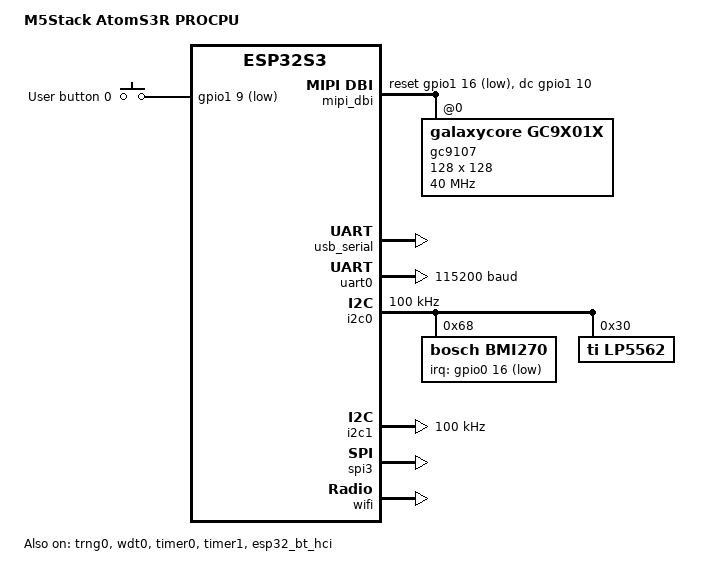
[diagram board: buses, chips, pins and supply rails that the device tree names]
/*
 * Copyright (c) 2024 M5Stack
 *
 * SPDX-License-Identifier: Apache-2.0
 */
/dts-v1/;

#include <espressif/esp32s3/esp32s3_pico_n8r8.dtsi>
#include "m5stack_atoms3r-pinctrl.dtsi"
#include "grove_connectors.dtsi"
#include <zephyr/dt-bindings/input/input-event-codes.h>
#include <zephyr/dt-bindings/display/panel.h>
#include <espressif/partitions_0x0_amp.dtsi>

/ {
	model = "M5Stack AtomS3R PROCPU";
	compatible = "m5stack,atoms3r";

	chosen {
		zephyr,sram = &sram1;
		zephyr,console = &usb_serial;
		zephyr,shell-uart = &usb_serial;
		zephyr,flash = &flash0;
		zephyr,code-partition = &slot0_partition;
		zephyr,display = &gc9107;
		zephyr,bt-hci = &esp32_bt_hci;
	};

	aliases {
		sw0 = &user_button_0;
		watchdog0 = &wdt0;
		accel0 = &bmi270;
		led-controller-0 = &lp5562;
	};

	gpio_keys {
		compatible = "gpio-keys";

		/* Button underneath the LCD display */
		user_button_0: button_0 {
			label = "User button 0";
			gpios = <&gpio1 9 GPIO_ACTIVE_LOW>; /* G41 */
			zephyr,code = <INPUT_KEY_0>;
		};
	};

	mipi_dbi {
		compatible = "zephyr,mipi-dbi-spi";
		spi-dev = <&spi3>;
		dc-gpios = <&gpio1 10 GPIO_ACTIVE_HIGH>;  /* G42 */
		reset-gpios = <&gpio1 16 GPIO_ACTIVE_LOW>; /* G48 */
		write-only;
		#address-cells = <1>;
		#size-cells = <0>;

		gc9107: gc9107@0 {
			compatible = "galaxycore,gc9x01x";
			reg = <0>;
			mipi-max-frequency = <40000000>;
			pixel-format = <PANEL_PIXEL_FORMAT_RGB_565>;
			width = <128>;
			height = <128>;
			display-inversion;
			orientation = "normal";
		};
	};
};

&usb_serial {
	status = "okay";
};

&uart0 {
	status = "okay";
	current-speed = <115200>;
	pinctrl-0 = <&uart0_default>;
	pinctrl-names = "default";
};

&i2c0 {
	status = "okay";
	clock-frequency = <I2C_BITRATE_STANDARD>;
	pinctrl-0 = <&i2c0_default>;
	pinctrl-names = "default";

	bmi270: bmi270@68 {
		compatible = "bosch,bmi270";
		reg = <0x68>;
		status = "okay";
		irq-gpios = <&gpio0 16 GPIO_ACTIVE_LOW>; /* G16 INT1 */
	};

	lp5562: lp5562@30 {
		compatible = "ti,lp5562";
		reg = <0x30>;
		status = "okay";
		white-output-current = <50>; /* 5mA for LCD backlight */
	};
};

&i2c1 {
	status = "okay";
	clock-frequency = <I2C_BITRATE_STANDARD>;
	pinctrl-0 = <&i2c1_default>;
	pinctrl-names = "default";
};

&trng0 {
	status = "okay";
};

&spi3 {
	#address-cells = <1>;
	#size-cells = <0>;
	status = "okay";
	pinctrl-0 = <&spim3_default>;
	pinctrl-names = "default";
	cs-gpios = <&gpio0 14 GPIO_ACTIVE_LOW>;
};

&gpio0 {
	status = "okay";
};

&gpio1 {
	status = "okay";
};

&wdt0 {
	status = "okay";
};

&timer0 {
	status = "okay";
};

&timer1 {
	status = "okay";
};

&esp32_bt_hci {
	status = "okay";
};

&wifi {
	status = "okay";
};
